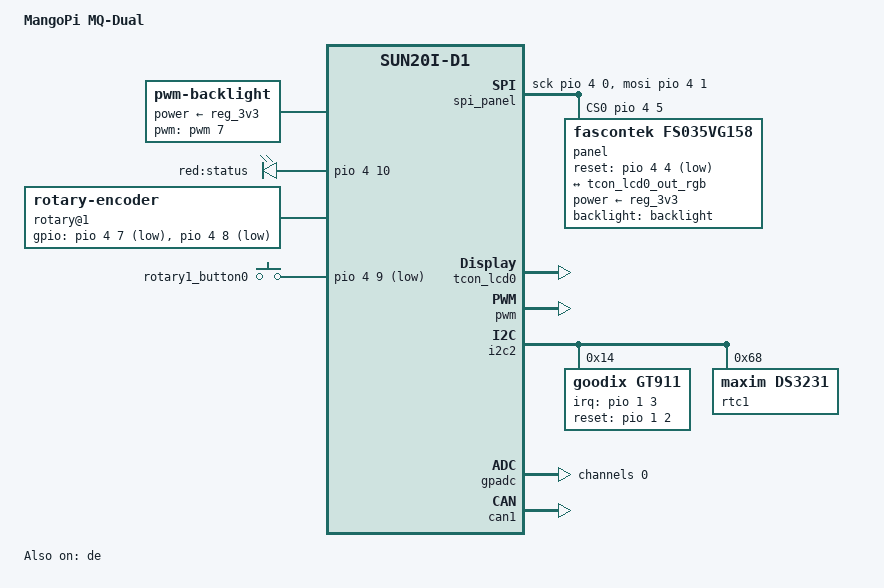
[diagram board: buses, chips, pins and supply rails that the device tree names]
// SPDX-License-Identifier: (GPL-2.0+ or MIT)
// Copyright (C) 2022 Samuel Holland <samuel@sholland.org>

/dts-v1/;

#include "mangopi-common.dtsi"

/ {
	model = "MangoPi MQ-Dual";
	compatible = "allwinner,sun20i-d1", "allwinner,sun8i";

	uboot,fastboot-pin = "PE9";

	chosen {
		#address-cells = <1>;
		#size-cells = <1>;
		ranges;

		stdout-path = "serial1:115200n8";

		framebuffer-lcd0 {
			compatible = "allwinner,simple-framebuffer","simple-framebuffer";
			allwinner,pipeline = "mixer0-lcd0";
			clocks = <&ccu CLK_BUS_DE>,<&ccu CLK_DE>,
				<&display_clocks CLK_BUS_MIXER0>,
				<&display_clocks CLK_MIXER0>,
				<&ccu CLK_BUS_DPSS_TOP>,
				<&ccu CLK_TCON_TV>,
				<&ccu CLK_TVE>,
				<&ccu CLK_TCON_LCD0>,
				<&ccu CLK_BUS_TCON_LCD0>,
				<&ccu CLK_TCON_LCD0>;
			status = "disabled";
		};
	};

	spi_panel: spi {
		compatible = "spi-gpio";
		#address-cells = <0x1>;
		#size-cells = <0x0>;

		sck-gpios = <&pio 4 0 GPIO_ACTIVE_HIGH>; /* PE0 */
		mosi-gpios = <&pio 4 1 GPIO_ACTIVE_HIGH>; /* PE1 */
		cs-gpios = <&pio 4 5 GPIO_ACTIVE_HIGH>; /* PE5 */
		num-chipselects = <0>;
	};

	backlight: backlight {
		compatible = "pwm-backlight";
		pwms = <&pwm 7 5000000>;
		power-supply = <&reg_3v3>;
		pinctrl-0 = <&pwm7_pd22_pin>;
		pinctrl-names = "default";
		brightness-levels = <0 4 8 16 32 64 128 254>;
		default-brightness-level = <6>;
		post-pwm-on-delay-ms = <10>;
		pwm-off-delay-ms = <10>;
	};

	leds {
		compatible = "gpio-leds";
		status_led0 {
			//linux,default-trigger = "heartbeat";
			default-state = "on";
			label = "red:status";
			gpios = <&pio 4 10 GPIO_ACTIVE_HIGH>; /* PE10 */
		};
	};

#if 0
	rotary@0 {
		compatible = "rotary-encoder";
		pinctrl-names = "default";
		gpios = <&pio 4 5 GPIO_ACTIVE_LOW>, <&pio 4 6 GPIO_ACTIVE_LOW>; /* PE5, PE6 */
		linux,axis = <8>; /* REL_WHEEL */
		rotary-encoder,encoding = "gray";
		rotary-encoder,relative-axis;
	};
#endif

	rotary@1 {
		compatible = "rotary-encoder";
		pinctrl-names = "default";
		gpios = <&pio 4 7 GPIO_ACTIVE_LOW>, <&pio 4 8 GPIO_ACTIVE_LOW>; /* PE7, PE8 */
		linux,axis = <6>; /* REL_HWHEEL */
		rotary-encoder,encoding = "gray";
		rotary-encoder,relative-axis;
	};

	rotary@1_button {
		compatible = "gpio-keys";
		pinctrl-names = "default";
		#address-cells = <1>;
		#size-cells = <0>;
		autorepeat;
		bias-pull-up;

		rotary1_button@0 {
			label = "rotary1_button0";
			linux,code = <28>; /* KEY_POWER */
			gpios = <&pio 4 9 GPIO_ACTIVE_LOW>; /* PE9 */
		};
	};
};

&de {
	status = "okay";
};

&tcon_lcd0 {
	pinctrl-0 = <&lcd_rgb666_pins>;
	pinctrl-names = "default";
	status = "okay";
};

&tcon_lcd0_out {
	tcon_lcd0_out_rgb: endpoint@0 {
		reg = <0>;
		remote-endpoint = <&rgb_panel_in>;
	};
};

&spi_panel {
	status = "okay";
	panel@0 {
		compatible = "fascontek,fs035vg158";
		spi-3wire;
		reg = <0>;
		backlight = <&backlight>;
		power-supply = <&reg_3v3>;
		reset-gpios = <&pio 4 4 GPIO_ACTIVE_LOW>; /* PE4 */
		port {
			rgb_panel_in: endpoint {
				remote-endpoint = <&tcon_lcd0_out_rgb>;
			};
		};
	};
};

&pwm {
	#pwm-cells = <2>;
	status = "okay";
};

&i2c2 {
	pinctrl-0 = <&i2c2_pe12_pins>;
	pinctrl-names = "default";
	status = "okay";

	gt911: touchscreen@14 {
		compatible = "goodix,gt911";
		reg = <0x14>;
		interrupt-parent = <&pio>;
		interrupts = <1 3 IRQ_TYPE_EDGE_FALLING>;  /* PB-EINT3    */
		irq-gpios = <&pio 1 3 GPIO_ACTIVE_HIGH>;   /* PB3 CTP_INT */
		reset-gpios = <&pio 1 2 GPIO_ACTIVE_HIGH>; /* PB2 CTP_RST */
		/* touchscreen-inverted-y; */
		/* touchscreen-inverted-x; */
	};

	rtc1: rtc1@68 {
		compatible = "maxim,ds3231";
		reg = <0x68>;
	};
};

&gpadc {
	status = "okay";
	channel@0 {
		reg = <0>;
	};
};

/*
&can0 {
	status = "okay";
};
*/

&can1 {
	status = "okay";
};
